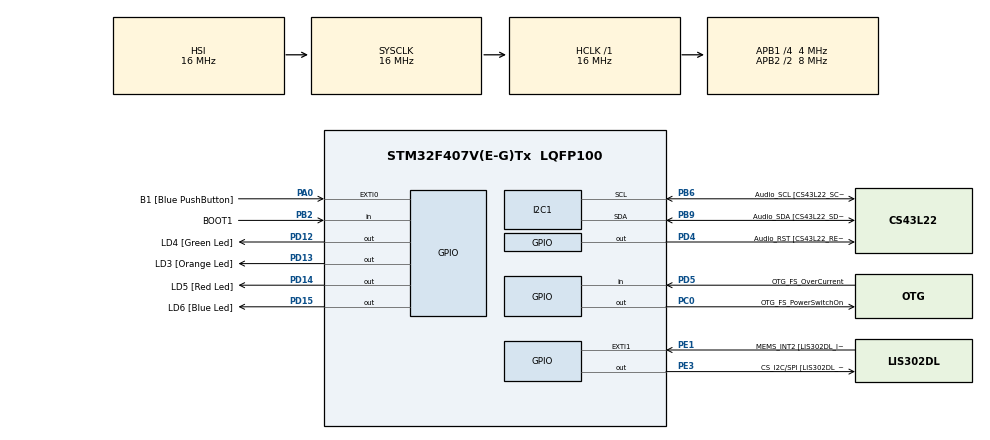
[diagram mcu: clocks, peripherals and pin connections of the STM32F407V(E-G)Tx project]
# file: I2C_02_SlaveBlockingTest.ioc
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I2C1.OwnAddress=57
Mcu.Family=STM32F4
Mcu.Name=STM32F407V(E-G)Tx
Mcu.Package=LQFP100
NVIC.I2C1_ER_IRQn=true\:0\:0\:false\:false\:true\:true\:true\:true
NVIC.I2C1_EV_IRQn=true\:0\:0\:false\:false\:true\:true\:true\:true
NVIC.PriorityGroup=NVIC_PRIORITYGROUP_0
PA0-WKUP.GPIO_Label=B1 [Blue PushButton]
PA0-WKUP.Signal=GPXTI0
PA10.GPIO_Label=OTG_FS_ID
PA10.GPIO_Mode=GPIO_MODE_AF_PP
PA10.GPIO_PuPd=GPIO_NOPULL
PA10.GPIO_Speed=GPIO_SPEED_FREQ_LOW
PA10.Signal=USB_OTG_FS_ID
PA11.GPIO_Label=OTG_FS_DM
PA11.GPIO_Mode=GPIO_MODE_AF_PP
PA11.GPIO_PuPd=GPIO_NOPULL
PA11.GPIO_Speed=GPIO_SPEED_FREQ_LOW
PA11.Signal=USB_OTG_FS_DM
PA12.GPIO_Label=OTG_FS_DP
PA12.GPIO_Mode=GPIO_MODE_AF_PP
PA12.GPIO_PuPd=GPIO_NOPULL
PA12.GPIO_Speed=GPIO_SPEED_FREQ_LOW
PA12.Signal=USB_OTG_FS_DP
PA13.GPIO_Label=SWDIO
PA13.Signal=SYS_JTMS-SWDIO
PA14.GPIO_Label=SWCLK
PA14.Signal=SYS_JTCK-SWCLK
PA4.GPIO_Label=I2S3_WS [CS43L22_LRCK]
PA4.GPIO_Mode=GPIO_MODE_AF_PP
PA4.GPIO_PuPd=GPIO_NOPULL
PA4.GPIO_Speed=GPIO_SPEED_FREQ_LOW
PA4.Signal=I2S3_WS
PA5.GPIO_Label=SPI1_SCK [LIS302DL_SCL/SPC]
PA5.GPIO_Mode=GPIO_MODE_AF_PP
PA5.GPIO_PuPd=GPIO_NOPULL
PA5.GPIO_Speed=GPIO_SPEED_FREQ_LOW
PA5.Signal=SPI1_SCK
PA6.GPIO_Label=SPI1_MISO [LIS302DL_SDO]
PA6.GPIO_Mode=GPIO_MODE_AF_PP
PA6.GPIO_PuPd=GPIO_NOPULL
PA6.GPIO_Speed=GPIO_SPEED_FREQ_LOW
PA6.Signal=SPI1_MISO
PA7.GPIO_Label=SPI1_MOSI [LIS302DL_SDA/SDI/SDO]
PA7.GPIO_Mode=GPIO_MODE_AF_PP
PA7.GPIO_PuPd=GPIO_NOPULL
PA7.GPIO_Speed=GPIO_SPEED_FREQ_LOW
PA7.Signal=SPI1_MOSI
PA9.GPIO_Label=VBUS_FS
PA9.GPIO_Mode=GPIO_MODE_INPUT
PA9.GPIO_PuPd=GPIO_NOPULL
PA9.Signal=USB_OTG_FS_VBUS
PB10.GPIO_Label=CLK_IN [MP45DT02_CLK]
PB10.GPIO_Mode=GPIO_MODE_AF_PP
PB10.GPIO_PuPd=GPIO_NOPULL
PB10.GPIO_Speed=GPIO_SPEED_FREQ_LOW
PB10.Signal=I2S2_CK
PB2.GPIO_Label=BOOT1
PB2.GPIO_Mode=GPIO_MODE_INPUT
PB2.GPIO_PuPd=GPIO_NOPULL
PB2.Signal=GPIO_Input
PB3.GPIO_Label=SWO
PB3.Signal=SYS_JTDO-SWO
PB6.GPIO_Label=Audio_SCL [CS43L22_SCL]
PB6.GPIO_Mode=GPIO_MODE_AF_OD
PB6.GPIO_PuPd=GPIO_NOPULL
PB6.GPIO_Speed=GPIO_SPEED_FREQ_LOW
PB6.Mode=I2C
PB6.Signal=I2C1_SCL
PB9.GPIO_Label=Audio_SDA [CS43L22_SDA]
PB9.GPIO_Mode=GPIO_MODE_AF_OD
PB9.GPIO_PuPd=GPIO_NOPULL
PB9.GPIO_Speed=GPIO_SPEED_FREQ_LOW
PB9.Mode=I2C
PB9.Signal=I2C1_SDA
PC0.GPIO_Label=OTG_FS_PowerSwitchOn
PC0.GPIO_PuPd=GPIO_NOPULL
PC0.GPIO_Speed=GPIO_SPEED_FREQ_LOW
PC0.PinState=GPIO_PIN_SET
PC0.Signal=GPIO_Output
PC10.GPIO_Label=I2S3_SCK [CS43L22_SCLK]
PC10.GPIO_Mode=GPIO_MODE_AF_PP
PC10.GPIO_PuPd=GPIO_NOPULL
PC10.GPIO_Speed=GPIO_SPEED_FREQ_LOW
PC10.Signal=I2S3_CK
PC12.GPIO_Label=I2S3_SD [CS43L22_SDIN]
PC12.GPIO_Mode=GPIO_MODE_AF_PP
PC12.GPIO_PuPd=GPIO_NOPULL
PC12.GPIO_Speed=GPIO_SPEED_FREQ_LOW
PC12.Signal=I2S3_SD
PC14-OSC32_IN.GPIO_Label=PC14-OSC32_IN
PC14-OSC32_IN.Signal=RCC_OSC32_IN
PC15-OSC32_OUT.GPIO_Label=PC15-OSC32_OUT
PC15-OSC32_OUT.Signal=RCC_OSC32_OUT
PC3.GPIO_Label=PDM_OUT [MP45DT02_DOUT]
PC3.GPIO_Mode=GPIO_MODE_AF_PP
PC3.GPIO_PuPd=GPIO_NOPULL
PC3.GPIO_Speed=GPIO_SPEED_FREQ_LOW
PC3.Signal=I2S2_SD
PC7.GPIO_Label=I2S3_MCK [CS43L22_MCLK]
PC7.GPIO_Mode=GPIO_MODE_AF_PP
PC7.GPIO_PuPd=GPIO_NOPULL
PC7.GPIO_Speed=GPIO_SPEED_FREQ_LOW
PC7.Signal=I2S3_MCK
PD12.GPIO_Label=LD4 [Green Led]
PD12.GPIO_PuPd=GPIO_NOPULL
PD12.GPIO_Speed=GPIO_SPEED_FREQ_LOW
PD12.Signal=GPIO_Output
PD13.GPIO_Label=LD3 [Orange Led]
PD13.GPIO_PuPd=GPIO_NOPULL
PD13.GPIO_Speed=GPIO_SPEED_FREQ_LOW
PD13.Signal=GPIO_Output
PD14.GPIO_Label=LD5 [Red Led]
PD14.GPIO_PuPd=GPIO_NOPULL
PD14.GPIO_Speed=GPIO_SPEED_FREQ_LOW
PD14.Signal=GPIO_Output
PD15.GPIO_Label=LD6 [Blue Led]
PD15.GPIO_PuPd=GPIO_NOPULL
PD15.GPIO_Speed=GPIO_SPEED_FREQ_LOW
PD15.Signal=GPIO_Output
PD4.GPIO_Label=Audio_RST [CS43L22_RESET]
PD4.GPIO_PuPd=GPIO_NOPULL
PD4.GPIO_Speed=GPIO_SPEED_FREQ_LOW
PD4.Signal=GPIO_Output
PD5.GPIO_Label=OTG_FS_OverCurrent
PD5.GPIO_Mode=GPIO_MODE_INPUT
PD5.GPIO_PuPd=GPIO_NOPULL
PD5.Signal=GPIO_Input
PE1.GPIO_Label=MEMS_INT2 [LIS302DL_INT2]
PE1.GPIO_ModeDefaultEXTI=GPIO_MODE_EVT_RISING
PE1.GPIO_PuPd=GPIO_NOPULL
PE1.Signal=GPXTI1
PE3.GPIO_Label=CS_I2C/SPI [LIS302DL_CS_I2C/SPI]
PE3.GPIO_PuPd=GPIO_NOPULL
PE3.GPIO_Speed=GPIO_SPEED_FREQ_LOW
PE3.Signal=GPIO_Output
PH0-OSC_IN.GPIO_Label=PH0-OSC_IN
PH0-OSC_IN.Signal=RCC_OSC_IN
PH1-OSC_OUT.GPIO_Label=PH1-OSC_OUT
PH1-OSC_OUT.Signal=RCC_OSC_OUT
ProjectManager.HeapSize=0x200
ProjectManager.StackSize=0x400
ProjectManager.TargetToolchain=STM32CubeIDE
RCC.48MHZClocksFreq_Value=14285714.285714285
RCC.AHBFreq_Value=16000000
RCC.APB1CLKDivider=RCC_HCLK_DIV4
RCC.APB1Freq_Value=4000000
RCC.APB1TimFreq_Value=8000000
RCC.APB2CLKDivider=RCC_HCLK_DIV2
RCC.APB2Freq_Value=8000000
RCC.APB2TimFreq_Value=16000000
RCC.CortexFreq_Value=16000000
RCC.HCLKFreq_Value=16000000
RCC.HSE_VALUE=8000000
RCC.HSI_VALUE=16000000
RCC.LSE_VALUE=32768
RCC.PLLM=8
RCC.PLLN=50
RCC.PLLP=RCC_PLLP_DIV4
RCC.PLLQ=7
RCC.SYSCLKFreq_VALUE=16000000
RCC.VCOOutputFreq_Value=100000000
board=STM32F407G-DISC1

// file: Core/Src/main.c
/* USER CODE BEGIN Header */
/**
  ******************************************************************************
  * @file           : main.c
  * @brief          : Main program body
  ******************************************************************************
  * @attention
  *
  * Copyright (c) 2026 STMicroelectronics.
  * All rights reserved.
  *
  * This software is licensed under terms that can be found in the LICENSE file
  * in the root directory of this software component.
  * If no LICENSE file comes with this software, it is provided AS-IS.
  *
  ******************************************************************************
  */
/* USER CODE END Header */
#include "main.h"

/* USER CODE BEGIN Includes */
#include <string.h>
#include <stdio.h>
#include <stdint.h>
/* USER CODE END Includes */

/* USER CODE BEGIN PD */
#define I2C_SLAVEMSGLEN 21
#define I2C_SLAVEADDR	(0x1E <<1)
#define I2C_SLAVESCNDMSGLEN	42
/* USER CODE END PD */

I2C_HandleTypeDef hi2c1;

/* USER CODE BEGIN PV */
uint8_t RcvBuf[70];
uint8_t ScndRcvBuf[50];
uint8_t TransmitMsg[]="I2C Master is talking...\n";
uint8_t TransmitScndMsg[]="Tayyar Onat Durmus speaking, COM is okay";
/* USER CODE END PV */

void SystemClock_Config(void);
static void MX_GPIO_Init(void);
static void MX_I2C1_Init(void);

int main(void)
{

  /* MCU Configuration--------------------------------------------------------*/

  /* Reset of all peripherals, Initializes the Flash interface and the Systick. */
  HAL_Init();

  /* Configure the system clock */
  SystemClock_Config();

  /* Initialize all configured peripherals */
  MX_GPIO_Init();
  MX_I2C1_Init();

  /* Infinite loop */
  /* USER CODE BEGIN WHILE */
  while (1)
  {
	 HAL_I2C_Master_Receive_IT(&hi2c1, I2C_SLAVEADDR, RcvBuf, I2C_SLAVEMSGLEN);
	 while(hi2c1.State != HAL_I2C_STATE_READY);//Wait until com is concluded.
	 RcvBuf[I2C_SLAVEMSGLEN] = '\0';
	 printf("Received Message : %s",RcvBuf);
	 HAL_I2C_Master_Transmit_IT(&hi2c1, I2C_SLAVEADDR, TransmitMsg, strlen((char*)TransmitMsg));
	 while(hi2c1.State != HAL_I2C_STATE_READY);//Wait until com is concluded.
	 printf("Master has received and sent the data.\n");
	 HAL_I2C_Master_Transmit_IT(&hi2c1, I2C_SLAVEADDR, TransmitScndMsg, strlen((char*)TransmitScndMsg));
	 while(hi2c1.State != HAL_I2C_STATE_READY);//Wait until com is concluded.
	 printf("Second Message Sent.\n");
	 HAL_I2C_Master_Receive_IT(&hi2c1, I2C_SLAVEADDR, ScndRcvBuf, I2C_SLAVESCNDMSGLEN);
	 while(hi2c1.State != HAL_I2C_STATE_READY);//Wait until com is concluded.
	 ScndRcvBuf[I2C_SLAVESCNDMSGLEN] = '\0';
	 printf("Second Received Message : %s",ScndRcvBuf);
	 printf("Communication complete. \n");
	 break;
    /* USER CODE END WHILE */

    /* USER CODE BEGIN 3 */
  }
  for(;;);
  /* USER CODE END 3 */
}

void SystemClock_Config(void)
{
  RCC_OscInitTypeDef RCC_OscInitStruct = {0};
  RCC_ClkInitTypeDef RCC_ClkInitStruct = {0};

  /** Configure the main internal regulator output voltage
  */
  __HAL_RCC_PWR_CLK_ENABLE();
  __HAL_PWR_VOLTAGESCALING_CONFIG(PWR_REGULATOR_VOLTAGE_SCALE1);

  /** Initializes the RCC Oscillators according to the specified parameters
  * in the RCC_OscInitTypeDef structure.
  */
  RCC_OscInitStruct.OscillatorType = RCC_OSCILLATORTYPE_HSI;
  RCC_OscInitStruct.HSIState = RCC_HSI_ON;
  RCC_OscInitStruct.HSICalibrationValue = RCC_HSICALIBRATION_DEFAULT;
  RCC_OscInitStruct.PLL.PLLState = RCC_PLL_NONE;
  if (HAL_RCC_OscConfig(&RCC_OscInitStruct) != HAL_OK)
  {
    Error_Handler();
  }

  /** Initializes the CPU, AHB and APB buses clocks
  */
  RCC_ClkInitStruct.ClockType = RCC_CLOCKTYPE_HCLK|RCC_CLOCKTYPE_SYSCLK
                              |RCC_CLOCKTYPE_PCLK1|RCC_CLOCKTYPE_PCLK2;
  RCC_ClkInitStruct.SYSCLKSource = RCC_SYSCLKSOURCE_HSI;
  RCC_ClkInitStruct.AHBCLKDivider = RCC_SYSCLK_DIV1;
  RCC_ClkInitStruct.APB1CLKDivider = RCC_HCLK_DIV4;
  RCC_ClkInitStruct.APB2CLKDivider = RCC_HCLK_DIV2;

  if (HAL_RCC_ClockConfig(&RCC_ClkInitStruct, FLASH_LATENCY_0) != HAL_OK)
  {
    Error_Handler();
  }
}

static void MX_I2C1_Init(void)
{

  hi2c1.Instance = I2C1;
  hi2c1.Init.ClockSpeed = 100000;
  hi2c1.Init.DutyCycle = I2C_DUTYCYCLE_2;
  hi2c1.Init.OwnAddress1 = 114;
  hi2c1.Init.AddressingMode = I2C_ADDRESSINGMODE_7BIT;
  hi2c1.Init.DualAddressMode = I2C_DUALADDRESS_DISABLE;
  hi2c1.Init.OwnAddress2 = 0;
  hi2c1.Init.GeneralCallMode = I2C_GENERALCALL_DISABLE;
  hi2c1.Init.NoStretchMode = I2C_NOSTRETCH_DISABLE;
  if (HAL_I2C_Init(&hi2c1) != HAL_OK)
  {
    Error_Handler();
  }

}

static void MX_GPIO_Init(void)
{
  GPIO_InitTypeDef GPIO_InitStruct = {0};

  /* GPIO Ports Clock Enable */
  __HAL_RCC_GPIOE_CLK_ENABLE();
  __HAL_RCC_GPIOC_CLK_ENABLE();
  __HAL_RCC_GPIOH_CLK_ENABLE();
  __HAL_RCC_GPIOA_CLK_ENABLE();
  __HAL_RCC_GPIOB_CLK_ENABLE();
  __HAL_RCC_GPIOD_CLK_ENABLE();

  /*Configure GPIO pin Output Level */
  HAL_GPIO_WritePin(CS_I2C_SPI_GPIO_Port, CS_I2C_SPI_Pin, GPIO_PIN_RESET);

  /*Configure GPIO pin Output Level */
  HAL_GPIO_WritePin(OTG_FS_PowerSwitchOn_GPIO_Port, OTG_FS_PowerSwitchOn_Pin, GPIO_PIN_SET);

  /*Configure GPIO pin Output Level */
  HAL_GPIO_WritePin(GPIOD, LD4_Pin|LD3_Pin|LD5_Pin|LD6_Pin
                          |Audio_RST_Pin, GPIO_PIN_RESET);

  /*Configure GPIO pin : CS_I2C_SPI_Pin */
  GPIO_InitStruct.Pin = CS_I2C_SPI_Pin;
  GPIO_InitStruct.Mode = GPIO_MODE_OUTPUT_PP;
  GPIO_InitStruct.Pull = GPIO_NOPULL;
  GPIO_InitStruct.Speed = GPIO_SPEED_FREQ_LOW;
  HAL_GPIO_Init(CS_I2C_SPI_GPIO_Port, &GPIO_InitStruct);

  /*Configure GPIO pin : OTG_FS_PowerSwitchOn_Pin */
  GPIO_InitStruct.Pin = OTG_FS_PowerSwitchOn_Pin;
  GPIO_InitStruct.Mode = GPIO_MODE_OUTPUT_PP;
  GPIO_InitStruct.Pull = GPIO_NOPULL;
  GPIO_InitStruct.Speed = GPIO_SPEED_FREQ_LOW;
  HAL_GPIO_Init(OTG_FS_PowerSwitchOn_GPIO_Port, &GPIO_InitStruct);

  /*Configure GPIO pin : PDM_OUT_Pin */
  GPIO_InitStruct.Pin = PDM_OUT_Pin;
  GPIO_InitStruct.Mode = GPIO_MODE_AF_PP;
  GPIO_InitStruct.Pull = GPIO_NOPULL;
  GPIO_InitStruct.Speed = GPIO_SPEED_FREQ_LOW;
  GPIO_InitStruct.Alternate = GPIO_AF5_SPI2;
  HAL_GPIO_Init(PDM_OUT_GPIO_Port, &GPIO_InitStruct);

  /*Configure GPIO pin : B1_Pin */
  GPIO_InitStruct.Pin = B1_Pin;
  GPIO_InitStruct.Mode = GPIO_MODE_IT_RISING;
  GPIO_InitStruct.Pull = GPIO_NOPULL;
  HAL_GPIO_Init(B1_GPIO_Port, &GPIO_InitStruct);

  /*Configure GPIO pin : I2S3_WS_Pin */
  GPIO_InitStruct.Pin = I2S3_WS_Pin;
  GPIO_InitStruct.Mode = GPIO_MODE_AF_PP;
  GPIO_InitStruct.Pull = GPIO_NOPULL;
  GPIO_InitStruct.Speed = GPIO_SPEED_FREQ_LOW;
  GPIO_InitStruct.Alternate = GPIO_AF6_SPI3;
  HAL_GPIO_Init(I2S3_WS_GPIO_Port, &GPIO_InitStruct);

  /*Configure GPIO pins : SPI1_SCK_Pin SPI1_MISO_Pin SPI1_MOSI_Pin */
  GPIO_InitStruct.Pin = SPI1_SCK_Pin|SPI1_MISO_Pin|SPI1_MOSI_Pin;
  GPIO_InitStruct.Mode = GPIO_MODE_AF_PP;
  GPIO_InitStruct.Pull = GPIO_NOPULL;
  GPIO_InitStruct.Speed = GPIO_SPEED_FREQ_LOW;
  GPIO_InitStruct.Alternate = GPIO_AF5_SPI1;
  HAL_GPIO_Init(GPIOA, &GPIO_InitStruct);

  /*Configure GPIO pin : BOOT1_Pin */
  GPIO_InitStruct.Pin = BOOT1_Pin;
  GPIO_InitStruct.Mode = GPIO_MODE_INPUT;
  GPIO_InitStruct.Pull = GPIO_NOPULL;
  HAL_GPIO_Init(BOOT1_GPIO_Port, &GPIO_InitStruct);

  /*Configure GPIO pin : CLK_IN_Pin */
  GPIO_InitStruct.Pin = CLK_IN_Pin;
  GPIO_InitStruct.Mode = GPIO_MODE_AF_PP;
  GPIO_InitStruct.Pull = GPIO_NOPULL;
  GPIO_InitStruct.Speed = GPIO_SPEED_FREQ_LOW;
  GPIO_InitStruct.Alternate = GPIO_AF5_SPI2;
  HAL_GPIO_Init(CLK_IN_GPIO_Port, &GPIO_InitStruct);

  /*Configure GPIO pins : LD4_Pin LD3_Pin LD5_Pin LD6_Pin
                           Audio_RST_Pin */
  GPIO_InitStruct.Pin = LD4_Pin|LD3_Pin|LD5_Pin|LD6_Pin
                          |Audio_RST_Pin;
  GPIO_InitStruct.Mode = GPIO_MODE_OUTPUT_PP;
  GPIO_InitStruct.Pull = GPIO_NOPULL;
  GPIO_InitStruct.Speed = GPIO_SPEED_FREQ_LOW;
  HAL_GPIO_Init(GPIOD, &GPIO_InitStruct);

  /*Configure GPIO pins : I2S3_MCK_Pin I2S3_SCK_Pin I2S3_SD_Pin */
  GPIO_InitStruct.Pin = I2S3_MCK_Pin|I2S3_SCK_Pin|I2S3_SD_Pin;
  GPIO_InitStruct.Mode = GPIO_MODE_AF_PP;
  GPIO_InitStruct.Pull = GPIO_NOPULL;
  GPIO_InitStruct.Speed = GPIO_SPEED_FREQ_LOW;
  GPIO_InitStruct.Alternate = GPIO_AF6_SPI3;
  HAL_GPIO_Init(GPIOC, &GPIO_InitStruct);

  /*Configure GPIO pin : VBUS_FS_Pin */
  GPIO_InitStruct.Pin = VBUS_FS_Pin;
  GPIO_InitStruct.Mode = GPIO_MODE_INPUT;
  GPIO_InitStruct.Pull = GPIO_NOPULL;
  HAL_GPIO_Init(VBUS_FS_GPIO_Port, &GPIO_InitStruct);

  /*Configure GPIO pins : OTG_FS_ID_Pin OTG_FS_DM_Pin OTG_FS_DP_Pin */
  GPIO_InitStruct.Pin = OTG_FS_ID_Pin|OTG_FS_DM_Pin|OTG_FS_DP_Pin;
  GPIO_InitStruct.Mode = GPIO_MODE_AF_PP;
  GPIO_InitStruct.Pull = GPIO_NOPULL;
  GPIO_InitStruct.Speed = GPIO_SPEED_FREQ_LOW;
  GPIO_InitStruct.Alternate = GPIO_AF10_OTG_FS;
  HAL_GPIO_Init(GPIOA, &GPIO_InitStruct);

  /*Configure GPIO pin : OTG_FS_OverCurrent_Pin */
  GPIO_InitStruct.Pin = OTG_FS_OverCurrent_Pin;
  GPIO_InitStruct.Mode = GPIO_MODE_INPUT;
  GPIO_InitStruct.Pull = GPIO_NOPULL;
  HAL_GPIO_Init(OTG_FS_OverCurrent_GPIO_Port, &GPIO_InitStruct);

  /*Configure GPIO pin : MEMS_INT2_Pin */
  GPIO_InitStruct.Pin = MEMS_INT2_Pin;
  GPIO_InitStruct.Mode = GPIO_MODE_EVT_RISING;
  GPIO_InitStruct.Pull = GPIO_NOPULL;
  HAL_GPIO_Init(MEMS_INT2_GPIO_Port, &GPIO_InitStruct);

}

void Error_Handler(void)
{
  __disable_irq();
  while (1)
  {
  }
}
